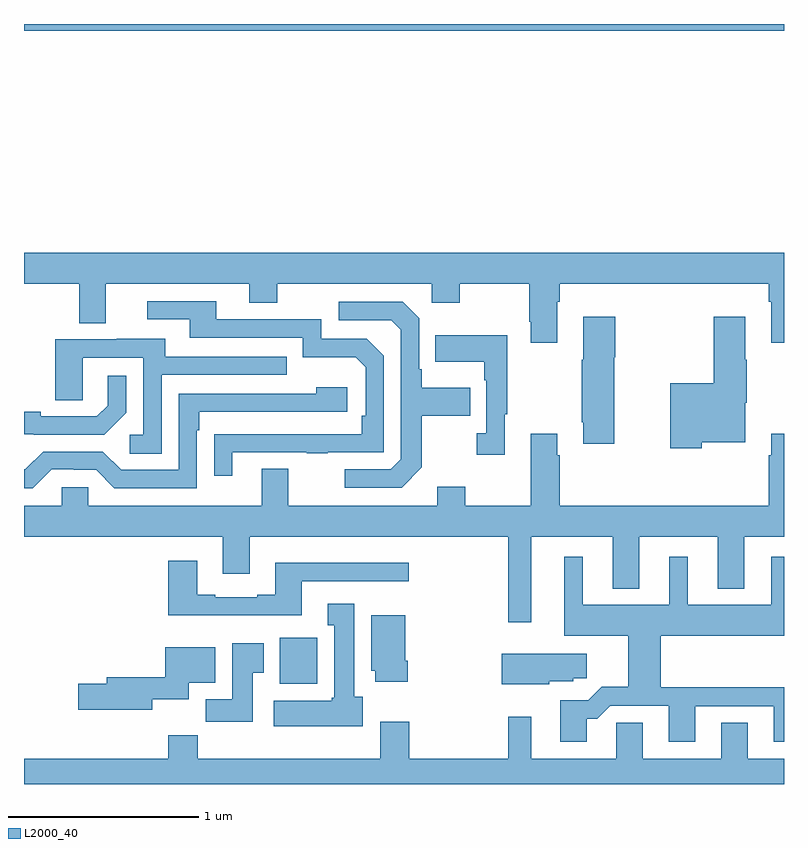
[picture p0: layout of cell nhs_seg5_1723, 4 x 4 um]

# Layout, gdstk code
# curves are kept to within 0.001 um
import gdstk
lib = gdstk.Library(unit=1e-6, precision=1e-09)
def R(c, l, rs):  # rectangles x0, y0, x1, y1
    for r in rs: c.add(gdstk.rectangle(r[:2], r[2:], *l))
def P(c, l, *ps):  # polygons
    for p in ps: c.add(gdstk.Polygon(p, *l))
L2000_40 = (2000, 40)

nhs_seg5_1723 = lib.new_cell('nhs_seg5_1723')
R(nhs_seg5_1723, L2000_40, [(216.347,849.326,216.544,849.568), (215,852.764,219,852.799)])
P(nhs_seg5_1723, L2000_40, [(215,851.432),(215.291,851.432),(215.291,851.224),(215.431,851.224),(215.431,851.432),(216.185,851.432),(216.185,851.333),(216.333,851.333),(216.333,851.432),(217.146,851.432),(217.146,851.333),(217.293,851.333),(217.293,851.432),(217.66,851.432),(217.66,851.233),(217.667,851.233),(217.667,851.121),(217.807,851.121),(217.807,851.336),(217.82,851.336),(217.82,851.432),(218.921,851.432),(218.921,851.336),(218.933,851.336),(218.933,851.121),(219,851.121),(219,851.596),(215,851.596)],
  [(216.097,850.545),(216.487,850.545),(216.487,850.54),(216.599,850.54),(216.599,850.545),(216.894,850.545),(216.894,851.052),(216.804,851.142),(216.564,851.142),(216.564,851.244),(216.013,851.244),(216.013,851.34),(215.649,851.34),(215.649,851.244),(215.873,851.244),(215.873,851.148),(216.468,851.148),(216.468,851.045),(216.745,851.045),(216.798,850.992),(216.798,850.738),(216.778,850.738),(216.778,850.641),(216.001,850.64),(216.001,850.422),(216.097,850.422)],
  [(217.093,850.465),(217.093,850.738),(217.349,850.738),(217.349,850.885),(217.093,850.885),(217.093,850.981),(217.08,850.981),(217.08,851.25),(216.993,851.337),(216.657,851.337),(216.657,851.241),(216.933,851.241),(216.984,851.19),(216.984,850.509),(216.93,850.455),(216.687,850.455),(216.687,850.359),(216.987,850.359)],
  [(218.106,851.044),(218.111,851.044),(218.111,851.257),(217.943,851.257),(217.943,851.033),(217.936,851.033),(217.936,850.702),(217.943,850.702),(217.943,850.59),(218.106,850.59)],
  [(218.568,850.598),(218.797,850.598),(218.797,850.805),(218.805,850.805),(218.805,851.033),(218.797,851.033),(218.797,851.257),(218.63,851.257),(218.63,850.909),(218.402,850.909),(218.402,850.565),(218.568,850.565)],
  [(217.531,850.745),(217.543,850.745),(217.543,851.161),(217.165,851.161),(217.165,851.021),(217.422,851.021),(217.422,850.925),(217.434,850.925),(217.434,850.646),(217.383,850.646),(217.383,850.533),(217.531,850.533)],
  [(215.724,850.953),(216.383,850.953),(216.383,851.049),(215.743,851.049),(215.743,851.143),(215.489,851.143),(215.489,851.139),(215.165,851.139),(215.165,850.819),(215.31,850.819),(215.31,851.043),(215.628,851.043),(215.628,850.638),(215.556,850.638),(215.556,850.537),(215.724,850.537)],
  [(215.538,850.754),(215.538,850.948),(215.441,850.948),(215.441,850.791),(215.384,850.734),(215.089,850.734),(215.089,850.757),(215,850.757),(215,850.641),(215.05,850.641),(215.05,850.638),(215.422,850.638)],
  [(215.145,850.455),(215.261,850.455),(215.261,850.452),(215.379,850.452),(215.475,850.356),(215.91,850.356),(215.91,850.661),(215.923,850.661),(215.923,850.758),(216.7,850.758),(216.7,850.888),(216.539,850.888),(216.539,850.854),(215.814,850.854),(215.814,850.452),(215.511,850.452),(215.415,850.548),(215.1,850.548),(215.007,850.455),(215,850.455),(215,850.355),(215.045,850.355)],
  [(217.669,850.1),(218.099,850.1),(218.099,849.827),(218.239,849.827),(218.239,850.1),(218.651,850.1),(218.651,849.827),(218.791,849.827),(218.791,850.1),(219,850.1),(219,850.642),(218.933,850.642),(218.933,850.529),(218.921,850.529),(218.921,850.264),(217.82,850.264),(217.82,850.529),(217.807,850.529),(217.807,850.642),(217.667,850.642),(217.667,850.264),(217.323,850.264),(217.323,850.363),(217.175,850.363),(217.175,850.264),(216.391,850.264),(216.391,850.459),(216.251,850.459),(216.251,850.264),(215.337,850.264),(215.337,850.362),(215.199,850.362),(215.199,850.264),(215,850.264),(215,850.1),(216.047,850.1),(216.047,849.906),(216.187,849.906),(216.187,850.1),(217.548,850.1),(217.548,849.651),(217.669,849.651)],
  [(217.963,849.143),(218.018,849.143),(218.085,849.21),(218.393,849.21),(218.393,849.021),(218.533,849.021),(218.533,849.207),(218.945,849.207),(218.945,849.021),(219,849.021),(219,849.308),(218.351,849.308),(218.351,849.578),(219,849.578),(219,849.994),(218.933,849.994),(218.933,849.742),(218.494,849.742),(218.494,849.994),(218.396,849.994),(218.396,849.742),(217.942,849.742),(217.942,849.994),(217.844,849.994),(217.844,849.578),(218.18,849.578),(218.18,849.311),(218.042,849.311),(217.971,849.24),(217.823,849.24),(217.823,849.021),(217.963,849.021)],
  [(216.463,849.867),(217.024,849.867),(217.024,849.964),(216.323,849.964),(216.323,849.796),(216.227,849.796),(216.227,849.783),(216.007,849.783),(216.007,849.796),(215.911,849.796),(215.911,849.973),(215.759,849.973),(215.759,849.686),(216.463,849.686)],
  [(216.784,849.258),(216.739,849.258),(216.739,849.748),(216.599,849.748),(216.599,849.635),(216.632,849.635),(216.632,849.252),(216.619,849.252),(216.619,849.238),(216.315,849.238),(216.315,849.104),(216.784,849.104)],
  [(217.019,849.448),(217.006,849.448),(217.006,849.688),(216.827,849.688),(216.827,849.396),(216.848,849.396),(216.848,849.336),(217.019,849.336)],
  [(216.205,849.385),(216.262,849.385),(216.262,849.541),(216.095,849.541),(216.095,849.244),(215.956,849.244),(215.956,849.126),(216.205,849.126)],
  [(215.674,849.245),(215.866,849.245),(215.866,849.332),(216.007,849.332),(216.007,849.52),(215.744,849.52),(215.744,849.362),(215.435,849.362),(215.435,849.326),(215.286,849.326),(215.286,849.191),(215.674,849.191)],
  [(217.764,849.341),(217.89,849.341),(217.89,849.355),(217.963,849.355),(217.963,849.484),(217.514,849.484),(217.514,849.323),(217.764,849.323)],
  [(219,848.932),(218.809,848.932),(218.809,849.122),(218.669,849.122),(218.669,848.932),(218.257,848.932),(218.257,849.122),(218.118,849.122),(218.118,848.932),(217.669,848.932),(217.669,849.154),(217.548,849.154),(217.548,848.932),(217.028,848.932),(217.028,849.127),(216.875,849.127),(216.875,848.932),(215.915,848.932),(215.915,849.056),(215.759,849.056),(215.759,848.932),(215,848.932),(215,848.799),(219,848.799)])

lib.write_gds('nhs_seg5_1723.gds')
